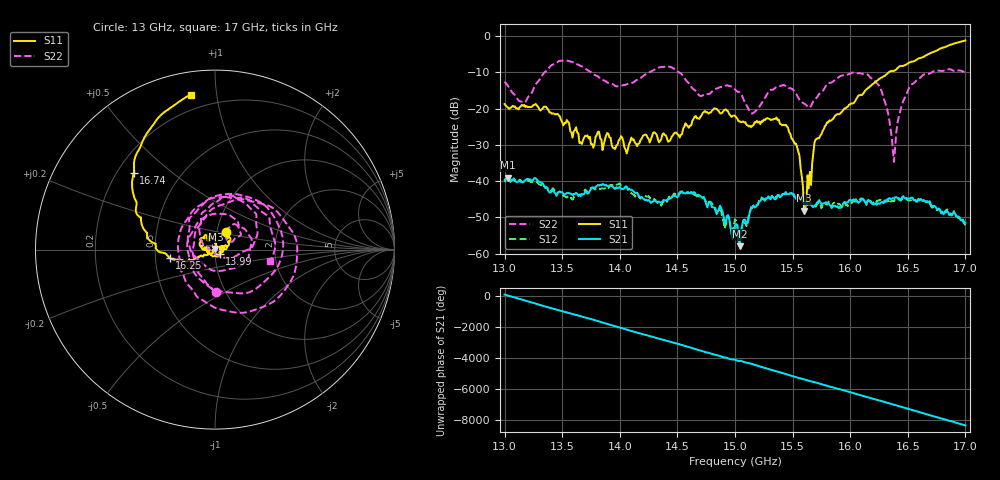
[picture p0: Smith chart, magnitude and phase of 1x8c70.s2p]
!Keysight Technologies,P9374A,MY57211807,A.19.30.04
!Date: Friday, May 08, 2026 15:13:38
!Correction: S11(C  2-Port  )
!S21(C  2-Port  )
!S12(C  2-Port  )
!S22(C  2-Port  )
!S2P File: Measurements: S11, S21, S12, S22:
# Hz S  dB  R 50
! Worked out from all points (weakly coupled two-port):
!   401 points, 13 GHz to 17 GHz, reference 50 ohm
!   highest |S21| = -39.05 dB at 13.03 GHz (marker M1); lowest = -58.0 dB at 15.04 GHz (marker M2)
!   lowest |S11| = -48.2 dB at 15.6 GHz (marker M3), VSWR 1.01, Z = 50.2 + j0.313 ohm
!   |S11| at or under -10 dB: start of sweep to 16.33 GHz
!   |S22| runs from -34.7 to -6.7 dB; largest |S21 - S12| = 0.0013
!   S11 on the Smith chart (normalised r, x): 13 GHz: 1.11, +0.22; 13.99 GHz: 1.05, -0.05; 16.25 GHz: 0.60, -0.06; 16.74 GHz: 0.27, +0.37; 17 GHz: 0.12, +0.85
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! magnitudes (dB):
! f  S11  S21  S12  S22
! 13 GHz  -18.7  -39.7  -40.3  -12.5
! 13.03 GHz  -19.7  -39.0  -39.5  -13.7
! 13.17 GHz  -19.0  -40.0  -40.2  -18.3
! 13.42 GHz  -21.3  -42.5  -41.9  -7.8
! 13.67 GHz  -29.7  -43.6  -43.1  -8.3
! 13.99 GHz  -28.8  -41.8  -40.7  -13.8
! 14.34 GHz  -29.3  -45.6  -46.1  -8.6
! 14.64 GHz  -22.8  -43.1  -43.6  -14.7
! 15 GHz  -22.0  -52.3  -50.5  -14.7
! 15.04 GHz  -23.5  -58.0  -57.3  -15.5
! 15.15 GHz  -24.7  -47.2  -47.5  -21.4
! 15.44 GHz  -24.5  -43.0  -43.3  -13.8
! 15.54 GHz  -30.8  -44.7  -44.2  -16.4
! 15.6 GHz  -48.2  -46.3  -45.8  -18.6
! 15.67 GHz  -35.1  -46.9  -46.8  -18.6
! 15.8 GHz  -23.7  -46.1  -46.6  -13.2
! 16.25 GHz  -11.8  -46.3  -45.4  -13.6
! 16.34 GHz  -9.9  -44.7  -45.0  -23.3
! 16.38 GHz  -9.6  -44.8  -45.6  -34.7
! 16.51 GHz  -7.3  -44.8  -45.3  -14.3
! 16.74 GHz  -4.1  -47.1  -47.7  -9.6
! 17 GHz  -1.2  -51.5  -52.2  -10.0
